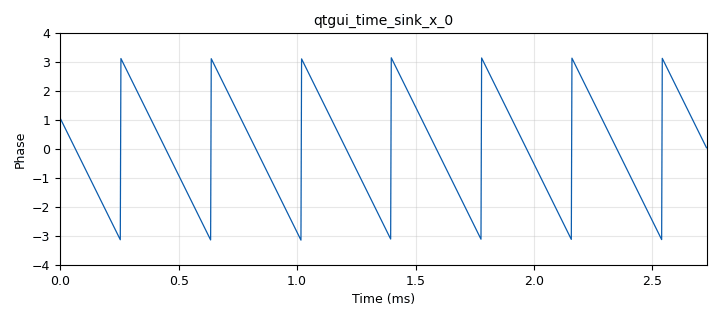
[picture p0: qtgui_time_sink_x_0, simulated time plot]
options:
  parameters:
    generate_options: qt_gui
    id: ex10_01
    output_language: python
    title: Figure 10.1 Demonstration of the inaccuracy of the trigonometric function calculation
  states: {}

blocks:
- name: N
  id: variable
  parameters:
    value: '8'
  states: {}
- name: samp_rate
  id: variable
  parameters:
    value: 3e6
  states: {}
- name: analog_sig_source_x_0
  id: analog_sig_source_x
  parameters:
    amp: '1'
    freq: '3000'
    offset: '0'
    phase: '0'
    samp_rate: samp_rate
    type: complex
    waveform: analog.GR_COS_WAVE
  states: {}
- name: analog_sig_source_x_0_0
  id: analog_sig_source_x
  parameters:
    amp: '1'
    freq: '3000'
    offset: '0'
    phase: '0'
    samp_rate: samp_rate/N
    type: complex
    waveform: analog.GR_COS_WAVE
  states: {}
- name: blocks_complex_to_arg_0
  id: blocks_complex_to_arg
  parameters: {}
  states: {}
- name: blocks_keep_one_in_n_0
  id: blocks_keep_one_in_n
  parameters:
    type: complex
  states: {}
- name: blocks_multiply_conjugate_cc_0
  id: blocks_multiply_conjugate_cc
  parameters: {}
  states: {}
- name: blocks_throttle2_0
  id: blocks_throttle2
  parameters:
    samples_per_second: samp_rate
    type: complex
  states: {}
- name: qtgui_time_sink_x_0
  id: qtgui_time_sink_x
  parameters:
    size: '1024'
    srate: samp_rate/N
    type: float
    ylabel: Phase
    ymax: '4'
    ymin: '-4'
  states: {}

connections:
- [analog_sig_source_x_0, '0', blocks_throttle2_0, '0']
- [analog_sig_source_x_0_0, '0', blocks_multiply_conjugate_cc_0, '1']
- [blocks_complex_to_arg_0, '0', qtgui_time_sink_x_0, '0']
- [blocks_keep_one_in_n_0, '0', blocks_multiply_conjugate_cc_0, '0']
- [blocks_multiply_conjugate_cc_0, '0', blocks_complex_to_arg_0, '0']
- [blocks_throttle2_0, '0', blocks_keep_one_in_n_0, '0']

metadata:
  file_format: 1
  grc_version: 3.10.9.2
